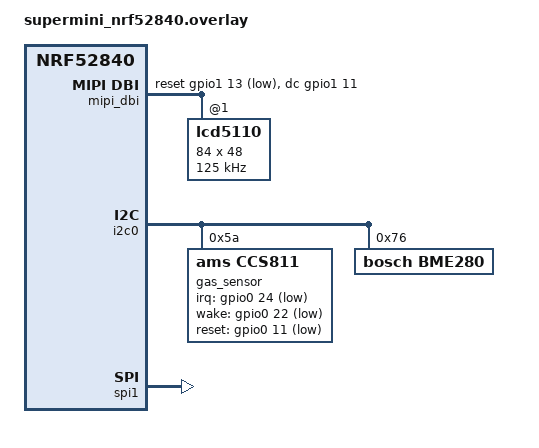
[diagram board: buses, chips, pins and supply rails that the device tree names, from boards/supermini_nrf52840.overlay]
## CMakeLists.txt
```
#-------------------------------------------------------------------------------
# Zephyr Example Application
#
# Copyright (c) 2021 Nordic Semiconductor ASA
# SPDX-License-Identifier: Apache-2.0

cmake_minimum_required(VERSION 3.13.1)
find_package(Zephyr REQUIRED HINTS $ENV{ZEPHYR_BASE})

zephyr_include_directories(../include)
zephyr_include_directories(include)

add_subdirectory(drivers)
#include(drivers/CMakeLists.txt)

project(app LANGUAGES C)
set_property(TARGET app PROPERTY C_STANDARD 99)

target_link_libraries(app PRIVATE display__lcd5110)

target_sources(app PRIVATE src/main.c
                   PRIVATE src/ccs811_sensor.c
                   PRIVATE src/bme280_sensor.c
                   PRIVATE src/lcd5110_display.c)
                   #PRIVATE src/st7789v_display.c)
```

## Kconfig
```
# Copyright (c) 2021 Nordic Semiconductor ASA
# SPDX-License-Identifier: Apache-2.0
#
# This file is the application Kconfig entry point. All application Kconfig
# options can be defined here or included via other application Kconfig files.
# You can browse these options using the west targets menuconfig (terminal) or
# guiconfig (GUI).

menu "Zephyr"
source "Kconfig.zephyr"
endmenu

module = APP
module-str = APP
source "subsys/logging/Kconfig.template.log_config"
rsource "drivers/Kconfig"
```

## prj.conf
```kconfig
# Copyright (c) 2021 Nordic Semiconductor ASA
# SPDX-License-Identifier: Apache-2.0
#
# This file contains selected Kconfig options for the application.

CONFIG_I2C=y
CONFIG_SENSOR=y
CONFIG_SENSOR_ASYNC_API=y

CONFIG_CCS811=y
#CONFIG_APP_TRIGGER_ON_DATAREADY=y
CONFIG_CCS811_TRIGGER_GLOBAL_THREAD=y

CONFIG_BME280=y
CONFIG_BME280_MODE_NORMAL=y
CONFIG_BME280_TEMP_OVER_2X=y
CONFIG_BME280_PRESS_OVER_16X=y
CONFIG_BME280_HUMIDITY_OVER_1X=y
CONFIG_BME280_FILTER_16=y

CONFIG_DISPLAY=y
CONFIG_LCD5110=y
CONFIG_HEAP_MEM_POOL_SIZE=120000

CONFIG_BUILD_OUTPUT_UF2=y
CONFIG_ROM_START_OFFSET=0x1000

# Set log levels
CONFIG_LOG=y
#CONFIG_RESET_ON_FATAL_ERROR=n

#CONFIG_I2C_DUMP_MESSAGES=y
CONFIG_I2C_LOG_LEVEL_WRN=y
CONFIG_SPI_LOG_LEVEL_WRN=y
CONFIG_SENSOR_LOG_LEVEL_WRN=y
#CONFIG_I2C_LOG_LEVEL_DBG=y
#CONFIG_SPI_LOG_LEVEL_DBG=y
#CONFIG_SENSOR_LOG_LEVEL_DBG=y
```

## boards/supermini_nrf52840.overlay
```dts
#include <zephyr/dt-bindings/mipi_dbi/mipi_dbi.h>

&i2c0 {
        gas_sensor: ccs811@5a {
                status = "okay";
                compatible = "ams,ccs811";
                reg = <0x5a>;
                irq-gpios = <&gpio0 24 GPIO_ACTIVE_LOW>;
                wake-gpios = <&gpio0 22 GPIO_ACTIVE_LOW>;
                reset-gpios = <&gpio0 11 GPIO_ACTIVE_LOW>;
                zephyr,deferred-init;
        };
        bme280: bme280@76 {
                compatible = "bosch,bme280";
                reg = <0x76>;
                zephyr,deferred-init;
        };
};
&spi1 {
        status = "okay";
        pinctrl-0 = <&spi1_default>;
        #pinctrl-names = "default";

        /*cs-gpios = <&gpio0 2 GPIO_ACTIVE_LOW>;*/
        cs-gpios = <&gpio0 2 GPIO_ACTIVE_LOW>, <&gpio1 15 GPIO_ACTIVE_LOW>;

};

/ {

    mipi_dbi {
        compatible = "zephyr,mipi-dbi-spi";
        spi-dev = <&spi1>;
        dc-gpios = <&gpio1 11 GPIO_ACTIVE_HIGH>;        /* DET */
        reset-gpios = <&gpio1 13 GPIO_ACTIVE_LOW>;      /* RESX reset */
        write-only;
        #address-cells = <1>;
        #size-cells = <0>;
        lcd5110: lcd5110@1 {
                compatible = "zephyr,lcd5110";
                reg = <1>;
                width = <84>;
                height = <48>;
                mipi-max-frequency = <125000>; /* 125kHz */
                mipi-mode = <MIPI_DBI_MODE_SPI_4WIRE>;
                zephyr,deferred-init;
                status = "okay";
        };
    };
    chosen {
                zephyr,display = &lcd5110;
    };


};
```

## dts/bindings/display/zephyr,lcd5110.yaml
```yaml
# Copyright (c) 2021 Nordic Semiconductor ASA
# SPDX-License-Identifier: Apache-2.0

description: lcd5110 display controller

compatible: "zephyr,lcd5110"

include: [mipi-dbi-spi-device.yaml, display-controller.yaml]
```

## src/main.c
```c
/*
 * SPDX-License-Identifier: Apache-2.0
 */

#include <stdio.h>
#include <zephyr/drivers/gpio.h>
#include <zephyr/drivers/sensor.h>
#include <zephyr/drivers/sensor/ccs811.h>
#include <zephyr/kernel.h>

#include "bme280_sensor.h"
#include "ccs811_sensor.h"
// #include "st7789v_display.h"
#include "lcd5110_display.h"

#define SLEEP_TIME_MS 500

/* The devicetree node identifier for the "led0" alias. */
#define LED0_NODE DT_ALIAS(led0)

static const struct gpio_dt_spec led = GPIO_DT_SPEC_GET(LED0_NODE, gpios);

#define POWER_PIN_EN_NODE DT_NODELABEL(powerpin0)

/* size of stack area used by each thread */
#define STACKSIZE 1024

/* scheduling priority used by each thread */
#define PRIORITY 7

enum sensor_type { CCS811_SENSOR, BME280_SENSOR };

struct sensor_data {
    enum sensor_type type;
    union {
        struct ccs811_result ccs811;
        struct bme280_result bme280;
    } data;
};

static void display_handler(void);
static void read_ccs811(struct ccs811_result *);
static void read_bme280(void);
static int enable_power_line(void);

static int enable_power_line() {
    int ret;
    static const struct gpio_dt_spec power_pin_en =
        GPIO_DT_SPEC_GET(POWER_PIN_EN_NODE, gpios);
    if (!gpio_is_ready_dt(&power_pin_en)) {
        printk("Error: Source Enable device %s is not ready",
               power_pin_en.port->name);
        return -ENODEV;
    }
    ret = gpio_pin_configure_dt(&power_pin_en, GPIO_OUTPUT);
    if (ret != 0) {
        printk("Error %d: failed to configure Source Enable device %s pin %d",
               ret, power_pin_en.port->name, power_pin_en.pin);
        return ret;
    }
    ret = gpio_pin_set_dt(&power_pin_en, 0);
    if (ret != 0) {
        printk("Error %d: failed to enable source", ret);
        return ret;
    }
    printk("Device %s, port %d set to 0\n", power_pin_en.port->name,
           power_pin_en.pin);
    return 0;
}

int main(void) {
    enable_power_line();
    k_msleep(100);
    ccs811_sensor_init(read_ccs811);
    int ret;
    bool led_state = true;

    if (!gpio_is_ready_dt(&led)) {
        return 0;
    }

    ret = gpio_pin_configure_dt(&led, GPIO_OUTPUT_ACTIVE);
    if (ret < 0) {
        return 0;
    }
    while (1) {
        ret = gpio_pin_toggle_dt(&led);
        if (ret < 0) {
            return 0;
        }

        led_state = !led_state;
        // printf("LED state: %s\n", led_state ? "ON" : "OFF");
        k_msleep(SLEEP_TIME_MS);
    }
    return 0;
}

K_FIFO_DEFINE(display_fifo);

static void read_ccs811(struct ccs811_result *data) {
    size_t size = sizeof(struct sensor_data);
    struct sensor_data *mem_ptr = (struct sensor_data *)k_malloc(size);
    __ASSERT_NO_MSG(mem_ptr != 0);
    mem_ptr->type = CCS811_SENSOR;
    memcpy(&mem_ptr->data.ccs811, data, size);

    k_fifo_put(&display_fifo, mem_ptr);
}

static void read_bme280(void) {
    k_msleep(2000);
    const struct device *bme280_dev = bme280_sensor_init();
    const struct bme280_result data;
    const size_t size = sizeof(struct sensor_data);

    while (bme280_dev) {
        int rc = bme280_sensor_read(bme280_dev, &data);
        if (rc == 0) {
            struct sensor_data *mem_ptr = (struct sensor_data *)k_malloc(size);
            __ASSERT_NO_MSG(mem_ptr != 0);
            mem_ptr->type = BME280_SENSOR;
            memcpy(&mem_ptr->data.bme280, &data, size);

            k_fifo_put(&display_fifo, mem_ptr);
        }
        k_msleep(1000);
    }
}

static void display_handler(void) {
    // main_display_test();
    lcd5110_init();
    k_msleep(1000);
    while (1) {
        struct sensor_data *rx_data = k_fifo_get(&display_fifo, K_FOREVER);
        if (rx_data == NULL) {
            continue;
        }
        if (rx_data->type == CCS811_SENSOR) {
            printf("CCS811: %u ppm eCO2; %u ppb eTVOC\n",
                   rx_data->data.ccs811.co2.val1,
                   rx_data->data.ccs811.tvoc.val1);
            lcd5110_setpos(0, 0);
            lcd5110_printf("CO2 %u ppm    ", rx_data->data.ccs811.co2.val1);
            lcd5110_setpos(0, 1);
            lcd5110_printf("TVOC %u ppb    ", rx_data->data.ccs811.tvoc.val1);
        } else if (rx_data->type == BME280_SENSOR) {
            printf("BME280: %u %u %u", rx_data->data.bme280.temperature.val1);
            lcd5110_setpos(0, 2);
            lcd5110_printf("%u C, %u %%  ",
                           rx_data->data.bme280.temperature.val1,
                           rx_data->data.bme280.humidity.val1);
            lcd5110_printf("%u.%06u kPa  ", rx_data->data.bme280.pressure.val1,
                           rx_data->data.bme280.pressure.val2);
        }
        k_free(rx_data);
    }
}

K_THREAD_DEFINE(read_bme280_id, STACKSIZE, read_bme280, NULL, NULL, NULL,
                PRIORITY, 0, 0);
K_THREAD_DEFINE(display_handler_id, STACKSIZE, display_handler, NULL, NULL,
                NULL, PRIORITY, 0, 0);
```

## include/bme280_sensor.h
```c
#pragma once
#include <zephyr/drivers/sensor.h>

struct bme280_result {
    struct sensor_value temperature;
    struct sensor_value pressure;
    struct sensor_value humidity;
};

const struct device *bme280_sensor_init(void);
int bme280_sensor_read(const struct device *dev, const struct bme280_result* result);
```

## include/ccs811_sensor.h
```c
#pragma once

#include <zephyr/drivers/sensor.h>

struct ccs811_result {
    struct sensor_value co2;
    struct sensor_value tvoc;
};

typedef void (*cc811_sensor_cb)(struct ccs811_result*);
int ccs811_sensor_init(cc811_sensor_cb cb);
```

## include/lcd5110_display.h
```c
#pragma once

int	 lcd5110_init(void);
void lcd5110_printf(const char *format, ...);
void lcd5110_putc(char c);
void lcd5110_setpos(uint32_t x, uint32_t y);
```

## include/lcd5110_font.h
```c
#pragma once

#define LCD5110_FONT_WIDTH 6
#define LCD5110_FONT_HEIGHT 8
#define LCD5110_FONT_FIRST_CHAR (' ')
#define LCD5110_FONT_LAST_CHAR ('~')

static const uint8_t ASCII[][LCD5110_FONT_WIDTH] = {
    {0x00, 0x00, 0x00, 0x00, 0x00}, // 20
    {0x00, 0x00, 0x5f, 0x00, 0x00}, // 21 !
    {0x00, 0x07, 0x00, 0x07, 0x00}, // 22 "
    {0x14, 0x7f, 0x14, 0x7f, 0x14}, // 23 #
    {0x24, 0x2a, 0x7f, 0x2a, 0x12}, // 24 $
    {0x23, 0x13, 0x08, 0x64, 0x62}, // 25 %
    {0x36, 0x49, 0x55, 0x22, 0x50}, // 26 &
    {0x00, 0x05, 0x03, 0x00, 0x00}, // 27 '
    {0x00, 0x1c, 0x22, 0x41, 0x00}, // 28 (
    {0x00, 0x41, 0x22, 0x1c, 0x00}, // 29 )
    {0x14, 0x08, 0x3e, 0x08, 0x14}, // 2a *
    {0x08, 0x08, 0x3e, 0x08, 0x08}, // 2b +
    {0x00, 0x50, 0x30, 0x00, 0x00}, // 2c ,
    {0x08, 0x08, 0x08, 0x08, 0x08}, // 2d -
    {0x00, 0x60, 0x60, 0x00, 0x00}, // 2e .
    {0x20, 0x10, 0x08, 0x04, 0x02}, // 2f /
    {0x3e, 0x51, 0x49, 0x45, 0x3e}, // 30 0
    {0x00, 0x42, 0x7f, 0x40, 0x00}, // 31 1
    {0x42, 0x61, 0x51, 0x49, 0x46}, // 32 2
    {0x21, 0x41, 0x45, 0x4b, 0x31}, // 33 3
    {0x18, 0x14, 0x12, 0x7f, 0x10}, // 34 4
    {0x27, 0x45, 0x45, 0x45, 0x39}, // 35 5
    {0x3c, 0x4a, 0x49, 0x49, 0x30}, // 36 6
    {0x01, 0x71, 0x09, 0x05, 0x03}, // 37 7
    {0x36, 0x49, 0x49, 0x49, 0x36}, // 38 8
    {0x06, 0x49, 0x49, 0x29, 0x1e}, // 39 9
    {0x00, 0x36, 0x36, 0x00, 0x00}, // 3a :
    {0x00, 0x56, 0x36, 0x00, 0x00}, // 3b ;
    {0x08, 0x14, 0x22, 0x41, 0x00}, // 3c <
    {0x14, 0x14, 0x14, 0x14, 0x14}, // 3d =
    {0x00, 0x41, 0x22, 0x14, 0x08}, // 3e >
    {0x02, 0x01, 0x51, 0x09, 0x06}, // 3f ?
    {0x32, 0x49, 0x79, 0x41, 0x3e}, // 40 @
    {0x7e, 0x11, 0x11, 0x11, 0x7e}, // 41 A
    {0x7f, 0x49, 0x49, 0x49, 0x36}, // 42 B
    {0x3e, 0x41, 0x41, 0x41, 0x22}, // 43 C
    {0x7f, 0x41, 0x41, 0x22, 0x1c}, // 44 D
    {0x7f, 0x49, 0x49, 0x49, 0x41}, // 45 E
    {0x7f, 0x09, 0x09, 0x09, 0x01}, // 46 F
    {0x3e, 0x41, 0x49, 0x49, 0x7a}, // 47 G
    {0x7f, 0x08, 0x08, 0x08, 0x7f}, // 48 H
    {0x00, 0x41, 0x7f, 0x41, 0x00}, // 49 I
    {0x20, 0x40, 0x41, 0x3f, 0x01}, // 4a J
    {0x7f, 0x08, 0x14, 0x22, 0x41}, // 4b K
    {0x7f, 0x40, 0x40, 0x40, 0x40}, // 4c L
    {0x7f, 0x02, 0x0c, 0x02, 0x7f}, // 4d M
    {0x7f, 0x04, 0x08, 0x10, 0x7f}, // 4e N
    {0x3e, 0x41, 0x41, 0x41, 0x3e}, // 4f O
    {0x7f, 0x09, 0x09, 0x09, 0x06}, // 50 P
    {0x3e, 0x41, 0x51, 0x21, 0x5e}, // 51 Q
    {0x7f, 0x09, 0x19, 0x29, 0x46}, // 52 R
    {0x46, 0x49, 0x49, 0x49, 0x31}, // 53 S
    {0x01, 0x01, 0x7f, 0x01, 0x01}, // 54 T
    {0x3f, 0x40, 0x40, 0x40, 0x3f}, // 55 U
    {0x1f, 0x20, 0x40, 0x20, 0x1f}, // 56 V
    {0x3f, 0x40, 0x38, 0x40, 0x3f}, // 57 W
    {0x63, 0x14, 0x08, 0x14, 0x63}, // 58 X
    {0x07, 0x08, 0x70, 0x08, 0x07}, // 59 Y
    {0x61, 0x51, 0x49, 0x45, 0x43}, // 5a Z
    {0x00, 0x7f, 0x41, 0x41, 0x00}, // 5b [
    {0x02, 0x04, 0x08, 0x10, 0x20}, // 5c back slash
    {0x00, 0x41, 0x41, 0x7f, 0x00}, // 5d ]
    {0x04, 0x02, 0x01, 0x02, 0x04}, // 5e ^
    {0x40, 0x40, 0x40, 0x40, 0x40}, // 5f _
    {0x00, 0x01, 0x02, 0x04, 0x00}, // 60 `
    {0x20, 0x54, 0x54, 0x54, 0x78}, // 61 a
    {0x7f, 0x48, 0x44, 0x44, 0x38}, // 62 b
    {0x38, 0x44, 0x44, 0x44, 0x20}, // 63 c
    {0x38, 0x44, 0x44, 0x48, 0x7f}, // 64 d
    {0x38, 0x54, 0x54, 0x54, 0x18}, // 65 e
    {0x08, 0x7e, 0x09, 0x01, 0x02}, // 66 f
    {0x0c, 0x52, 0x52, 0x52, 0x3e}, // 67 g
    {0x7f, 0x08, 0x04, 0x04, 0x78}, // 68 h
    {0x00, 0x44, 0x7d, 0x40, 0x00}, // 69 i
    {0x20, 0x40, 0x44, 0x3d, 0x00}, // 6a j
    {0x7f, 0x10, 0x28, 0x44, 0x00}, // 6b k
    {0x00, 0x41, 0x7f, 0x40, 0x00}, // 6c l
    {0x7c, 0x04, 0x18, 0x04, 0x78}, // 6d m
    {0x7c, 0x08, 0x04, 0x04, 0x78}, // 6e n
    {0x38, 0x44, 0x44, 0x44, 0x38}, // 6f o
    {0x7c, 0x14, 0x14, 0x14, 0x08}, // 70 p
    {0x08, 0x14, 0x14, 0x18, 0x7c}, // 71 q
    {0x7c, 0x08, 0x04, 0x04, 0x08}, // 72 r
    {0x48, 0x54, 0x54, 0x54, 0x20}, // 73 s
    {0x04, 0x3f, 0x44, 0x40, 0x20}, // 74 t
    {0x3c, 0x40, 0x40, 0x20, 0x7c}, // 75 u
    {0x1c, 0x20, 0x40, 0x20, 0x1c}, // 76 v
    {0x3c, 0x40, 0x30, 0x40, 0x3c}, // 77 w
    {0x44, 0x28, 0x10, 0x28, 0x44}, // 78 x
    {0x0c, 0x50, 0x50, 0x50, 0x3c}, // 79 y
    {0x44, 0x64, 0x54, 0x4c, 0x44}, // 7a z
    {0x00, 0x08, 0x36, 0x41, 0x00}, // 7b {
    {0x00, 0x00, 0x7f, 0x00, 0x00}, // 7c |
    {0x00, 0x41, 0x36, 0x08, 0x00}, // 7d }
    {0x10, 0x08, 0x08, 0x10, 0x08}, // 7e ~
    {0x00, 0x06, 0x09, 0x09, 0x06}  // 7f DEL
};
```

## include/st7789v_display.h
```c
#pragma once
//void st7789v_display_init(void);
int main_display_test(void);
```

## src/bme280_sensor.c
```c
#include <bme280_sensor.h>
#include <stdio.h>
#include <zephyr/device.h>
#include <zephyr/devicetree.h>
#include <zephyr/drivers/sensor.h>
#include <zephyr/drivers/sensor_data_types.h>
#include <zephyr/dsp/print_format.h>
#include <zephyr/kernel.h>
#include <zephyr/rtio/rtio.h>

const struct device *const dev = DEVICE_DT_GET_ANY(bosch_bme280);

SENSOR_DT_READ_IODEV(iodev, DT_COMPAT_GET_ANY_STATUS_OKAY(bosch_bme280),
                     {SENSOR_CHAN_AMBIENT_TEMP, 0}, {SENSOR_CHAN_HUMIDITY, 0},
                     {SENSOR_CHAN_PRESS, 0});

RTIO_DEFINE(ctx, 1, 1);

const struct device *bme280_sensor_init(void) {
    if (dev == NULL) {
        /* No such node, or the node does not have status "okay". */
        printk("\nError: no device found.\n");
        return NULL;
    }
    int rc = device_init(dev);
    if (rc) {
        printk("Device %s is not inited, rc = %d\n", dev->name, rc);
        return NULL;
    }
    if (!device_is_ready(dev)) {
        printk("\nError: Device \"%s\" is not ready; "
               "check the driver initialization logs for errors.\n",
               dev->name);
        return NULL;
    }

    printk("Found device \"%s\", getting sensor data\n", dev->name);
    return dev;
}

int bme280_sensor_read(const struct device *dev,
                       const struct bme280_result *result) {
    // struct sensor_value temp, press, humidity;
    int rc;
    if (dev == NULL) {
        printk("Device is NULL\n");
        return -1;
    }

    rc = sensor_sample_fetch(dev);
    if (rc != 0) {
        printk("Failed to fetch sensor data: %d\n", rc);
        return rc;
    }

    rc =
        sensor_channel_get(dev, SENSOR_CHAN_AMBIENT_TEMP, &result->temperature);
    if (rc == 0) {
        printk("Temperature: %d.%06d C\n", result->temperature.val1,
               result->temperature.val2);
    } else {
        printk("Failed to get temperature data: %d\n", rc);
        return rc;
    }

    rc = sensor_channel_get(dev, SENSOR_CHAN_PRESS, &result->pressure);
    if (rc == 0) {
        printk("Pressure: %d.%06d kPa\n", result->pressure.val1,
               result->pressure.val2);
    } else {
        printk("Failed to get pressure data: %d\n", rc);
        return rc;
    }

    rc = sensor_channel_get(dev, SENSOR_CHAN_HUMIDITY, &result->humidity);
    if (rc == 0) {
        printk("Humidity: %d.%06d %%\n", result->humidity.val1,
               result->humidity.val2);
    } else {
        printk("Failed to get humidity data: %d\n", rc);
        return rc;
    }
    return 0;
}
```

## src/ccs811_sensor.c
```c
#include <stdbool.h>
#include <stdio.h>
#include <zephyr/drivers/gpio.h>
#include <zephyr/drivers/sensor.h>
#include <zephyr/drivers/sensor/ccs811.h>
#include <zephyr/kernel.h>

#include "ccs811_sensor.h"

/* 1000 msec = 1 sec */
#define SLEEP_TIME_MS 500

static bool app_fw_2;
static cc811_sensor_cb display_cb;

#define CONFIG_APP_MONITOR_BASELINE
static const char *now_str(void) {
    static char buf[16]; /* ...HH:MM:SS.MMM */
    uint32_t now = k_uptime_get_32();
    unsigned int ms = now % MSEC_PER_SEC;
    unsigned int s;
    unsigned int min;
    unsigned int h;

    now /= MSEC_PER_SEC;
    s = now % 60U;
    now /= 60U;
    min = now % 60U;
    now /= 60U;
    h = now;

    snprintf(buf, sizeof(buf), "%u:%02u:%02u.%03u", h, min, s, ms);
    return buf;
}

static int do_fetch(const struct device *dev) {
    struct sensor_value voltage, current;
    struct ccs811_result result;
    int rc = 0;
    int baseline = -1;

#ifdef CONFIG_APP_MONITOR_BASELINE
    rc = ccs811_baseline_fetch(dev);
    if (rc >= 0) {
        baseline = rc;
        rc = 0;
    }
#endif
    if (rc == 0) {
        rc = sensor_sample_fetch(dev);
    }
    if (rc == 0) {
        const struct ccs811_result_type *rp = ccs811_result(dev);

        sensor_channel_get(dev, SENSOR_CHAN_CO2, &result.co2);
        sensor_channel_get(dev, SENSOR_CHAN_VOC, &result.tvoc);
        sensor_channel_get(dev, SENSOR_CHAN_VOLTAGE, &voltage);
        sensor_channel_get(dev, SENSOR_CHAN_CURRENT, &current);
        printk("\n[%s]: CCS811: %u ppm eCO2; %u ppb eTVOC\n", now_str(),
               result.co2.val1, result.tvoc.val1);
        printk("Voltage: %d.%06dV; Current: %d.%06dA\n", voltage.val1,
               voltage.val2, current.val1, current.val2);
#ifdef CONFIG_APP_MONITOR_BASELINE
        printk("BASELINE %04x\n", baseline);
#endif
        if (app_fw_2 && !(rp->status & CCS811_STATUS_DATA_READY)) {
            printk("STALE DATA\n");
        }

        if (rp->status & CCS811_STATUS_ERROR) {
            printk("ERROR: %02x\n", rp->error);
        } else {
            display_cb(&result);
        }
    }
    return rc;
}

static void trigger_handler(const struct device *dev,
                            const struct sensor_trigger *trig) {
    int rc = do_fetch(dev);

    if (rc == 0) {
        printk("Triggered fetch got %d\n", rc);
    } else if (-EAGAIN == rc) {
        printk("Triggered fetch got stale data\n");
    } else {
        printk("Triggered fetch failed: %d\n", rc);
    }
}

int ccs811_sensor_init(cc811_sensor_cb cb) {
    const struct device *const dev = DEVICE_DT_GET_ONE(ams_ccs811);
    struct ccs811_configver_type cfgver;

    display_cb = cb;

    int rc = device_init(dev);
    if (rc) {
        printk("Device %s is not inited, rc = %d\n", dev->name, rc);
        return rc;
    }
    if (!device_is_ready(dev)) {
        printk("Device %s is not ready\n", dev->name);
        return -1;
    }

    printk("device is %p, name is %s\n", dev, dev->name);

    rc = ccs811_configver_fetch(dev, &cfgver);
    if (rc == 0) {
        printk("HW %02x; FW Boot %04x App %04x ; mode %02x\n",
               cfgver.hw_version, cfgver.fw_boot_version, cfgver.fw_app_version,
               cfgver.mode);
        app_fw_2 = (cfgver.fw_app_version >> 8) > 0x11;
    }
    struct sensor_trigger trig = {0};
    printk("Triggering on data ready\n");
    trig.type = SENSOR_TRIG_DATA_READY;
    trig.chan = SENSOR_CHAN_ALL;
    if (rc == 0) {
        rc = sensor_trigger_set(dev, &trig, trigger_handler);
    }

    return rc;
}
```

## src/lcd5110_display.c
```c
#include <stdbool.h>
#include <stdint.h>
#include <stdio.h>
#include <zephyr/drivers/gpio.h>
#include <zephyr/drivers/mipi_dbi.h>
#include <zephyr/drivers/sensor.h>
#include <zephyr/kernel.h>
#include <zephyr/logging/log.h>

#include "lcd5110_display.h"
#include "lcd5110_font.h"

#define LCD5110_MAX_STRING_LENGTH 14
LOG_MODULE_REGISTER(lcd5110, CONFIG_LCD5110_LOG_LEVEL);

struct lcd5110_data {
    uint8_t max_char_x;
    uint8_t max_char_y;
    uint8_t current_char_x;
    uint8_t current_char_y;
};

const struct device *display_dev;

static struct lcd5110_data lcd5110_data = {
    .max_char_x = 0,
    .max_char_y = 0,
    .current_char_x = 0,
    .current_char_y = 0,
};

static int lcd5110_send_line(char *line, int len);
static int lcd5110_send_ascii_char(int c);

int lcd5110_init(void) {

    struct display_capabilities capabilities;

    display_dev = DEVICE_DT_GET(DT_CHOSEN(zephyr_display));
    int rc = device_init(display_dev);
    if (rc) {
        LOG_ERR("Device %s is not inited, rc = %d\n", display_dev->name, rc);
        return rc;
    }
    if (!device_is_ready(display_dev)) {
        LOG_ERR("Device %s not found. Aborting sample.", display_dev->name);
        return 0;
    }

    LOG_INF("Display init for %s", display_dev->name);
    display_get_capabilities(display_dev, &capabilities);
    LOG_INF("Display capabilities: %d x %d", capabilities.x_resolution,
            capabilities.y_resolution);
    lcd5110_data.max_char_x = capabilities.x_resolution / LCD5110_FONT_WIDTH;
    lcd5110_data.max_char_y = capabilities.y_resolution / LCD5110_FONT_HEIGHT;

    lcd5110_printf("LCD initialized");

    return 0;
}
void lcd5110_printf(const char *format, ...) {
    char buffer[LCD5110_MAX_STRING_LENGTH];
    va_list args;

    va_start(args, format);
    int strlen = vsnprintf(buffer, sizeof(buffer), format, args);
    va_end(args);

    lcd5110_send_line(buffer, strlen);
    return 0;
}

void lcd5110_putc(char c) {
    if (c < LCD5110_FONT_FIRST_CHAR || c > LCD5110_FONT_LAST_CHAR) {
        c = LCD5110_FONT_FIRST_CHAR;
    }
    lcd5110_send_ascii_char(c - LCD5110_FONT_FIRST_CHAR);
}

void lcd5110_setpos(uint32_t x, uint32_t y) {
    if (x >= lcd5110_data.max_char_x) {
        x = lcd5110_data.max_char_x - 1;
    }
    if (y >= lcd5110_data.max_char_y) {
        y = lcd5110_data.max_char_y - 1;
    }
    lcd5110_data.current_char_x = x;
    lcd5110_data.current_char_y = y;
}

static int lcd5110_send_ascii_char(int c) {

    struct display_buffer_descriptor desc = {
        .buf_size = LCD5110_FONT_WIDTH * LCD5110_FONT_HEIGHT / 8,
        .pitch = LCD5110_FONT_WIDTH,
        .width = LCD5110_FONT_WIDTH,
        .height = LCD5110_FONT_HEIGHT,
    };

    int rc = display_write(
        display_dev, lcd5110_data.current_char_x * LCD5110_FONT_WIDTH,
        lcd5110_data.current_char_y * LCD5110_FONT_HEIGHT, &desc, ASCII[c]);
    lcd5110_data.current_char_x++;
    if (lcd5110_data.current_char_x >= lcd5110_data.max_char_x) {
        lcd5110_data.current_char_x = 0;
        lcd5110_data.current_char_y++;
        if (lcd5110_data.current_char_y >= lcd5110_data.max_char_y) {
            lcd5110_data.current_char_y = 0;
        }
    }
    return rc;
}

static int lcd5110_send_line(char *line, int len) {
    static const int char_size = LCD5110_FONT_WIDTH * LCD5110_FONT_HEIGHT / 8;
    uint8_t buffer[LCD5110_FONT_WIDTH * LCD5110_FONT_HEIGHT / 8 *
                   LCD5110_MAX_STRING_LENGTH];
    if (len > LCD5110_MAX_STRING_LENGTH) {
        len = LCD5110_MAX_STRING_LENGTH;
    }
    for (int i = 0; i < len; i++) {
        if (line[i] < LCD5110_FONT_FIRST_CHAR ||
            line[i] > LCD5110_FONT_LAST_CHAR) {
            line[i] = LCD5110_FONT_FIRST_CHAR;
        }
        int c = line[i] - LCD5110_FONT_FIRST_CHAR;
        memcpy(&buffer[char_size * i], ASCII[c], char_size);
    }

    struct display_buffer_descriptor desc = {
        .buf_size = char_size * len,
        .pitch = LCD5110_FONT_WIDTH,
        .width = LCD5110_FONT_WIDTH,
        .height = LCD5110_FONT_HEIGHT,
    };
    int rc = display_write(
        display_dev, lcd5110_data.current_char_x * LCD5110_FONT_WIDTH,
        lcd5110_data.current_char_y * LCD5110_FONT_HEIGHT, &desc, buffer);
    lcd5110_data.current_char_x = 0;
    lcd5110_data.current_char_y++;
    if (lcd5110_data.current_char_y >= lcd5110_data.max_char_y) {
        lcd5110_data.current_char_y = 0;
    }

    return rc;
}
```

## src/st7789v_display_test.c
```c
/*
 * Copyright (c) 2019 Jan Van Winkel <jan.van_winkel@dxplore.eu>
 *
 * Based on ST7789V sample:
 * Copyright (c) 2019 Marc Reilly
 *
 * SPDX-License-Identifier: Apache-2.0
 */

#include <stdint.h>
#include <zephyr/logging/log.h>
LOG_MODULE_REGISTER(sample, LOG_LEVEL_INF);

#include <zephyr/device.h>
#include <zephyr/drivers/display.h>
#include <zephyr/kernel.h>

enum corner { TOP_LEFT, TOP_RIGHT, BOTTOM_RIGHT, BOTTOM_LEFT };

typedef void (*fill_buffer)(enum corner corner, uint8_t grey, uint8_t *buf,
                            size_t buf_size);

static uint8_t *buf;
static size_t buf_size;

static struct display_buffer_descriptor buf_desc;
static fill_buffer fill_buffer_fnc = NULL;

static void fill_buffer_argb8888(enum corner corner, uint8_t grey, uint8_t *buf,
                                 size_t buf_size) {
    uint32_t color = 0;

    switch (corner) {
    case TOP_LEFT:
        color = 0x00FF0000u;
        break;
    case TOP_RIGHT:
        color = 0x0000FF00u;
        break;
    case BOTTOM_RIGHT:
        color = 0x000000FFu;
        break;
    case BOTTOM_LEFT:
        color = grey << 16 | grey << 8 | grey;
        break;
    }

    for (size_t idx = 0; idx < buf_size; idx += 4) {
        *((uint32_t *)(buf + idx)) = color;
    }
}

static void fill_buffer_rgb888(enum corner corner, uint8_t grey, uint8_t *buf,
                               size_t buf_size) {
    uint32_t color = 0;

    switch (corner) {
    case TOP_LEFT:
        color = 0x00FF0000u;
        break;
    case TOP_RIGHT:
        color = 0x0000FF00u;
        break;
    case BOTTOM_RIGHT:
        color = 0x000000FFu;
        break;
    case BOTTOM_LEFT:
        color = grey << 16 | grey << 8 | grey;
        break;
    }

    for (size_t idx = 0; idx < buf_size; idx += 3) {
        *(buf + idx + 0) = color >> 16;
        *(buf + idx + 1) = color >> 8;
        *(buf + idx + 2) = color >> 0;
    }
}

static uint16_t get_rgb565_color(enum corner corner, uint8_t grey) {
    uint16_t color = 0;
    uint16_t grey_5bit;

    switch (corner) {
    case TOP_LEFT:
        color = 0xF800u;
        break;
    case TOP_RIGHT:
        color = 0x07E0u;
        break;
    case BOTTOM_RIGHT:
        color = 0x001Fu;
        break;
    case BOTTOM_LEFT:
        grey_5bit = grey & 0x1Fu;
        /* shift the green an extra bit, it has 6 bits */
        color = grey_5bit << 11 | grey_5bit << (5 + 1) | grey_5bit;
        break;
    }
    return color;
}

static void fill_buffer_rgb565(enum corner corner, uint8_t grey, uint8_t *buf,
                               size_t buf_size) {
    uint16_t color = get_rgb565_color(corner, grey);

    for (size_t idx = 0; idx < buf_size; idx += 2) {
        *(buf + idx + 0) = (color >> 8) & 0xFFu;
        *(buf + idx + 1) = (color >> 0) & 0xFFu;
    }
}

static void fill_buffer_bgr565(enum corner corner, uint8_t grey, uint8_t *buf,
                               size_t buf_size) {
    uint16_t color = get_rgb565_color(corner, grey);

    for (size_t idx = 0; idx < buf_size; idx += 2) {
        *(uint16_t *)(buf + idx) = color;
    }
}

static void fill_buffer_mono(enum corner corner, uint8_t grey, uint8_t black,
                             uint8_t white, uint8_t *buf, size_t buf_size) {
    uint16_t color;

    switch (corner) {
    case BOTTOM_LEFT:
        color = (grey & 0x01u) ? white : black;
        break;
    default:
        color = black;
        break;
    }

    memset(buf, color, buf_size);
}

static inline void fill_buffer_mono01(enum corner corner, uint8_t grey,
                                      uint8_t *buf, size_t buf_size) {
    fill_buffer_mono(corner, grey, 0x00u, 0xFFu, buf, buf_size);
}

static inline void fill_buffer_mono10(enum corner corner, uint8_t grey,
                                      uint8_t *buf, size_t buf_size) {
    fill_buffer_mono(corner, grey, 0xFFu, 0x00u, buf, buf_size);
}

const struct device *st7789v_display_init(void) {
    const struct device *display_dev;
    struct display_capabilities capabilities;
    size_t x;
    size_t y;

    display_dev = DEVICE_DT_GET(DT_CHOSEN(zephyr_display));
    if (!device_is_ready(display_dev)) {
        LOG_ERR("Device %s not found. Aborting sample.", display_dev->name);
        return 0;
    }

    LOG_INF("Display sample for %s", display_dev->name);
    display_get_capabilities(display_dev, &capabilities);
    // if (capabilities.screen_info & SCREEN_INFO_MONO_VTILED) {
    //     rect_w = 16;
    //     rect_h = 8;
    // } else {
    //     rect_w = 2;
    //     rect_h = 1;
    // }
    LOG_INF("Display info 0x%x", capabilities.screen_info);
    LOG_INF("Display size %d %d", capabilities.x_resolution,
            capabilities.y_resolution);
    LOG_INF("Display format %d", capabilities.current_pixel_format);
    // if ((capabilities.x_resolution < 3 * rect_w) ||
    //     (capabilities.y_resolution < 3 * rect_h) ||
    //     (capabilities.x_resolution < 8 * rect_h)) {
    //     rect_w = capabilities.x_resolution * 40 / 100;
    //     rect_h = capabilities.y_resolution * 40 / 100;
    //     h_step = capabilities.y_resolution * 20 / 100;
    //     scale = 1;
    // } else {
    //     h_step = rect_h;
    //     scale = (capabilities.x_resolution / 8) / rect_h;
    // }

    // rect_w *= scale;
    // rect_h *= scale;

    // if (capabilities.screen_info & SCREEN_INFO_EPD) {
    //     grey_scale_sleep = 10000;
    // } else {
    //     grey_scale_sleep = 100;
    // }

    buf_size = capabilities.x_resolution * capabilities.y_resolution;

    // if (buf_size < (capabilities.x_resolution * h_step)) {
    //     buf_size = capabilities.x_resolution * h_step;
    // }

    switch (capabilities.current_pixel_format) {
    case PIXEL_FORMAT_ARGB_8888:
        // bg_color = 0xFFu;
        // fill_buffer_fnc = fill_buffer_argb8888;
        buf_size *= 4;
        break;
    case PIXEL_FORMAT_RGB_888:
        // bg_color = 0xFFu;
        // fill_buffer_fnc = fill_buffer_rgb888;
        buf_size *= 3;
        break;
    case PIXEL_FORMAT_RGB_565:
        // bg_color = 0xFFu;
        // fill_buffer_fnc = fill_buffer_rgb565;
        buf_size *= 2;
        break;
    case PIXEL_FORMAT_BGR_565:
        // bg_color = 0xFFu;
        // fill_buffer_fnc = fill_buffer_bgr565;
        buf_size *= 2;
        break;
    case PIXEL_FORMAT_MONO01:
        // bg_color = 0xFFu;
        // fill_buffer_fnc = fill_buffer_mono01;
        buf_size = DIV_ROUND_UP(DIV_ROUND_UP(buf_size, NUM_BITS(uint8_t)),
                                sizeof(uint8_t));
        break;
    case PIXEL_FORMAT_MONO10:
        // bg_color = 0x00u;
        // fill_buffer_fnc = fill_buffer_mono10;
        buf_size = DIV_ROUND_UP(DIV_ROUND_UP(buf_size, NUM_BITS(uint8_t)),
                                sizeof(uint8_t));
        break;
    default:
        LOG_ERR("Unsupported pixel format. Aborting sample.");
        return 0;
    }

    buf_desc.buf_size = buf_size;
    buf_desc.pitch = capabilities.x_resolution;
    buf_desc.width = capabilities.x_resolution;
    buf_desc.height = capabilities.y_resolution;

    return display_dev;
}

int main_display_test_new(void) {

    // int32_t grey_scale_sleep;
    const struct device *display_dev;
    uint16_t color = 0x00FF;
    display_dev = st7789v_display_init();

    buf = k_malloc(buf_size);

    if (buf == NULL) {
        LOG_ERR("Could not allocate memory %d bytes. Aborting sample.",
                buf_size);

        return 0;
    }

    //(void)memset(buf, bg_color, buf_size);

    // for (int idx = 0; idx < capabilities.y_resolution; idx += h_step) {
    //     /*
    //      * Tweaking the height value not to draw outside of the display.
    //      * It is required when using a monochrome display whose vertical
    //      * resolution can not be divided by 8.
    //      */
    //     if ((capabilities.y_resolution - idx) < h_step) {
    //         buf_desc.height = (capabilities.y_resolution - idx);
    //     }
    //     display_write(display_dev, 0, idx, &buf_desc, buf);
    // }

    // fill_buffer_fnc(TOP_LEFT, 0, buf, buf_size);
    // x = 0;
    // y = 0;
    // display_write(display_dev, x, y, &buf_desc, buf);

    // fill_buffer_fnc(TOP_RIGHT, 0, buf, buf_size);
    // x = capabilities.x_resolution - rect_w;
    // y = 0;
    // display_write(display_dev, x, y, &buf_desc, buf);

    // fill_buffer_fnc(BOTTOM_RIGHT, 0, buf, buf_size);
    // x = capabilities.x_resolution - rect_w;
    // y = capabilities.y_resolution - rect_h;
    // display_write(display_dev, x, y, &buf_desc, buf);

    display_blanking_off(display_dev);

    // grey_count = 0;
    //     x = 0;
    //     y = capabilities.y_resolution - rect_h;
    buf_desc.buf_size = buf_size;
    buf_desc.pitch /= 10;
    buf_desc.width /= 10;
    buf_desc.height /= 10;
    while (1) {

        // fill_buffer_fnc(BOTTOM_LEFT, grey_count, buf, buf_size);
        // display_write(display_dev, x, y, &buf_desc, buf);
        // ++grey_count;
        // k_msleep(grey_scale_sleep);
        // if (grey_count >= 1024) {
        //     // break;
        //     grey_count = 0;
        // }

        color += 0x5;
        printk("color: 0x%x\n", color);
        for (size_t idx = 0; idx < buf_size; idx += 2) {
            *((uint16_t *)(buf + idx)) = color;
        }
        // display_write(display_dev, buf_desc.width, buf_desc.height,
        // &buf_desc,
        //               buf);
        display_write(display_dev, 0, 0, &buf_desc, buf);
        k_msleep(1000);
    }

    return 0;
}

int main_display_test(void) {
    size_t x;
    size_t y;
    size_t rect_w;
    size_t rect_h;
    size_t h_step;
    size_t scale;
    size_t grey_count;
    uint8_t bg_color;
    uint8_t *buf;
    int32_t grey_scale_sleep;
    const struct device *display_dev;
    struct display_capabilities capabilities;
    struct display_buffer_descriptor buf_desc;
    size_t buf_size = 0;
    fill_buffer fill_buffer_fnc = NULL;
    k_msleep(3000);
    display_dev = DEVICE_DT_GET(DT_CHOSEN(zephyr_display));
    int rc = device_init(display_dev);
    if (rc) {
        printk("Device %s is not inited, rc = %d\n", display_dev->name, rc);
        return rc;
    }
    if (!device_is_ready(display_dev)) {
        LOG_ERR("Device %s not found. Aborting sample.", display_dev->name);
        return 0;
    }

    LOG_INF("Display sample for %s", display_dev->name);
    display_get_capabilities(display_dev, &capabilities);

    if (capabilities.screen_info & SCREEN_INFO_MONO_VTILED) {
        rect_w = 16;
        rect_h = 8;
    } else {
        rect_w = 2;
        rect_h = 1;
    }

    if ((capabilities.x_resolution < 3 * rect_w) ||
        (capabilities.y_resolution < 3 * rect_h) ||
        (capabilities.x_resolution < 8 * rect_h)) {
        rect_w = capabilities.x_resolution * 40 / 100;
        rect_h = capabilities.y_resolution * 40 / 100;
        h_step = capabilities.y_resolution * 20 / 100;
        scale = 1;
    } else {
        h_step = rect_h;
        scale = (capabilities.x_resolution / 8) / rect_h;
    }

    rect_w *= scale;
    rect_h *= scale;

    if (capabilities.screen_info & SCREEN_INFO_EPD) {
        grey_scale_sleep = 10000;
    } else {
        grey_scale_sleep = 100;
    }

    buf_size = rect_w * rect_h;

    if (buf_size < (capabilities.x_resolution * h_step)) {
        buf_size = capabilities.x_resolution * h_step;
    }

    switch (capabilities.current_pixel_format) {
    case PIXEL_FORMAT_ARGB_8888:
        bg_color = 0xFFu;
        fill_buffer_fnc = fill_buffer_argb8888;
        buf_size *= 4;
        break;
    case PIXEL_FORMAT_RGB_888:
        bg_color = 0xFFu;
        fill_buffer_fnc = fill_buffer_rgb888;
        buf_size *= 3;
        break;
    case PIXEL_FORMAT_RGB_565:
        bg_color = 0xFFu;
        fill_buffer_fnc = fill_buffer_rgb565;
        buf_size *= 2;
        break;
    case PIXEL_FORMAT_BGR_565:
        bg_color = 0xFFu;
        fill_buffer_fnc = fill_buffer_bgr565;
        buf_size *= 2;
        break;
    case PIXEL_FORMAT_MONO01:
        bg_color = 0xFFu;
        fill_buffer_fnc = fill_buffer_mono01;
        buf_size = DIV_ROUND_UP(DIV_ROUND_UP(buf_size, NUM_BITS(uint8_t)),
                                sizeof(uint8_t));
        break;
    case PIXEL_FORMAT_MONO10:
        bg_color = 0x00u;
        fill_buffer_fnc = fill_buffer_mono10;
        buf_size = DIV_ROUND_UP(DIV_ROUND_UP(buf_size, NUM_BITS(uint8_t)),
                                sizeof(uint8_t));
        break;
    default:
        LOG_ERR("Unsupported pixel format. Aborting sample.");
        return 0;
    }

    buf = k_malloc(buf_size);

    if (buf == NULL) {
        LOG_ERR("Could not allocate memory. Aborting sample.");
        return 0;
    }

    (void)memset(buf, bg_color, buf_size);

    buf_desc.buf_size = buf_size;
    buf_desc.pitch = capabilities.x_resolution;
    buf_desc.width = capabilities.x_resolution;
    buf_desc.height = h_step;

    for (int idx = 0; idx < capabilities.y_resolution; idx += h_step) {
        /*
         * Tweaking the height value not to draw outside of the display.
         * It is required when using a monochrome display whose vertical
         * resolution can not be divided by 8.
         */
        if ((capabilities.y_resolution - idx) < h_step) {
            buf_desc.height = (capabilities.y_resolution - idx);
        }
        display_write(display_dev, 0, idx, &buf_desc, buf);
    }

    buf_desc.pitch = rect_w;
    buf_desc.width = rect_w;
    buf_desc.height = rect_h;

    fill_buffer_fnc(TOP_LEFT, 0, buf, buf_size);
    x = 0;
    y = 0;
    display_write(display_dev, x, y, &buf_desc, buf);

    fill_buffer_fnc(TOP_RIGHT, 0, buf, buf_size);
    x = capabilities.x_resolution - rect_w;
    y = 0;
    display_write(display_dev, x, y, &buf_desc, buf);

    fill_buffer_fnc(BOTTOM_RIGHT, 0, buf, buf_size);
    x = capabilities.x_resolution - rect_w;
    y = capabilities.y_resolution - rect_h;
    display_write(display_dev, x, y, &buf_desc, buf);

    display_blanking_off(display_dev);

    grey_count = 0;
    x = 0;
    y = capabilities.y_resolution - rect_h;

    while (1) {
        fill_buffer_fnc(BOTTOM_LEFT, grey_count, buf, buf_size);
        display_write(display_dev, x, y, &buf_desc, buf);
        ++grey_count;
        k_msleep(grey_scale_sleep);
        // #if CONFIG_TEST
        if (grey_count >= 1024) {
            break;
        }
        // #endif
    }

    return 0;
}
```
